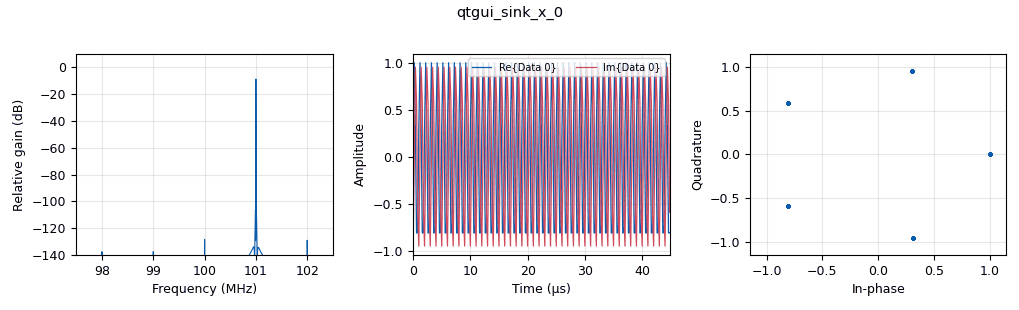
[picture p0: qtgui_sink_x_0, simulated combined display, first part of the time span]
options:
  parameters:
    author: Lime Microsystems
    generate_options: qt_gui
    id: signal_generator
    output_language: python
    title: Signal generator
  states: {}

blocks:
- name: analog_filter
  id: variable_qtgui_entry
  parameters:
    gui_hint: 1,0,1,1
    label: Analog filter bandwidth [MHz]
    type: real
    value: samp_rate/1e6
  states: {}
- name: baseband
  id: variable_qtgui_entry
  parameters:
    gui_hint: 0,0,1,1
    label: TX Baseband [MHz]
    type: real
    value: '100'
  states: {}
- name: digital_filter
  id: variable_qtgui_entry
  parameters:
    gui_hint: 1,1,1,1
    label: Digital filter bandwidth [MHz]
    type: real
    value: samp_rate/1e6 - 0.3
  states: {}
- name: gain
  id: variable_qtgui_range
  parameters:
    gui_hint: 5,0,1,2
    label: Gain [dB]
    min_len: '70'
    orient: Qt.Horizontal
    rangeType: int
    start: '0'
    step: '1'
    stop: '60'
    value: '40'
  states: {}
- name: nco
  id: variable_qtgui_entry
  parameters:
    gui_hint: 0,1,1,1
    label: NCO [MHz]
    type: real
    value: '0'
  states: {}
- name: pa_path
  id: variable_qtgui_chooser
  parameters:
    gui_hint: 4,0
    label: PA Path
    label0: Auto
    label1: Band1
    label2: Band2
    num_opts: '3'
    option1: '1'
    option2: '2'
    type: int
    value: '255'
  states: {}
- name: samp_rate
  id: variable
  parameters:
    value: 5e6
  states: {}
- name: signal_freq
  id: variable_qtgui_entry
  parameters:
    gui_hint: 2,0,1,1
    label: Signal frequency [MHz]
    type: real
    value: '1'
  states: {}
- name: signal_samp_rate
  id: variable_qtgui_entry
  parameters:
    gui_hint: 2,1,1,1
    label: Signal sampling rate [MHz]
    type: real
    value: samp_rate/1e6
  states: {}
- name: waveform
  id: variable_qtgui_chooser
  parameters:
    gui_hint: 4,1
    label: Waveform
    label0: Cosine
    label1: Square
    label2: Triangle
    label3: Saw tooth
    labels: '["0","1","2","3","4","5"]'
    num_opts: '4'
    option1: '103'
    option2: '104'
    option3: '105'
    options: '[100, 101, 102,103,104,105]'
    type: int
    value: '102'
  states: {}
- name: analog_sig_source_x_0
  id: analog_sig_source_x
  parameters:
    amp: '1'
    freq: signal_freq*1e6
    offset: '0'
    phase: '0'
    samp_rate: signal_samp_rate*1e6
    type: complex
    waveform: waveform
  states: {}
- name: limesdr_fpga_sink_0
  id: limesdr_fpga_sink
  parameters:
    allow_tcxo_dac: '0'
    analog_bandw_ch0: analog_filter*1e6
    analog_bandw_ch1: 5e6
    calibr_bandw_ch0: samp_rate
    calibr_bandw_ch1: 2.5e6
    channel_mode: '0'
    dacVal: '180'
    digital_bandw_ch0: digital_filter*1e6
    digital_bandw_ch1: samp_rate
    filename: ''
    gain_dB_ch0: gain
    gain_dB_ch1: '1'
    length_tag_name: ''
    nco_freq_ch0: nco
    nco_freq_ch1: '0'
    oversample: '0'
    pa_path_ch0: pa_path
    pa_path_ch1: '255'
    rf_freq: baseband*1e6
    samp_rate: samp_rate
    serial: ''
  states: {}
- name: qtgui_sink_x_0
  id: qtgui_sink_x
  parameters:
    bw: samp_rate
    fc: baseband*1e6
    fftsize: '4096'
    gui_hint: 6,0,5,2
    showrf: 'True'
    type: complex
    wintype: firdes.WIN_BLACKMAN_hARRIS
  states: {}

connections:
- [analog_sig_source_x_0, '0', limesdr_fpga_sink_0, '0']
- [analog_sig_source_x_0, '0', qtgui_sink_x_0, '0']

metadata:
  file_format: 1
